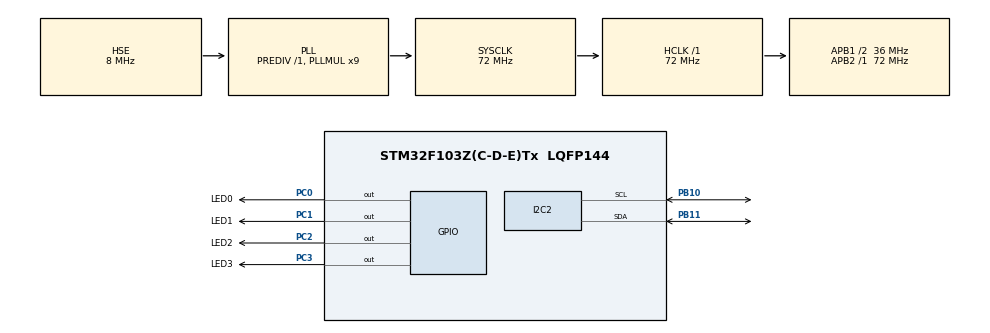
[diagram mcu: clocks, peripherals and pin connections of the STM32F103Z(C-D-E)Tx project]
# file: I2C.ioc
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I2C2.DualAddressMode=I2C_DUALADDRESS_DISABLE
Mcu.Family=STM32F1
Mcu.Name=STM32F103Z(C-D-E)Tx
Mcu.Package=LQFP144
NVIC.I2C2_ER_IRQn=true\:0\:0\:false\:false\:true\:true\:true
NVIC.I2C2_EV_IRQn=true\:0\:0\:false\:false\:true\:true\:true
NVIC.PriorityGroup=NVIC_PRIORITYGROUP_4
OSC_IN.Mode=HSE-External-Oscillator
OSC_IN.Signal=RCC_OSC_IN
OSC_OUT.Mode=HSE-External-Oscillator
OSC_OUT.Signal=RCC_OSC_OUT
PA13.Mode=Serial_Wire
PA13.Signal=SYS_JTMS-SWDIO
PA14.Mode=Serial_Wire
PA14.Signal=SYS_JTCK-SWCLK
PB10.Mode=I2C
PB10.Signal=I2C2_SCL
PB11.Mode=I2C
PB11.Signal=I2C2_SDA
PC0.GPIO_Label=LED0
PC0.GPIO_ModeDefaultOutputPP=GPIO_MODE_OUTPUT_PP
PC0.GPIO_PuPd=GPIO_NOPULL
PC0.GPIO_Speed=GPIO_SPEED_FREQ_LOW
PC0.PinState=GPIO_PIN_SET
PC0.Signal=GPIO_Output
PC1.GPIO_Label=LED1
PC1.GPIO_ModeDefaultOutputPP=GPIO_MODE_OUTPUT_PP
PC1.GPIO_PuPd=GPIO_NOPULL
PC1.GPIO_Speed=GPIO_SPEED_FREQ_LOW
PC1.PinState=GPIO_PIN_SET
PC1.Signal=GPIO_Output
PC2.GPIO_Label=LED2
PC2.GPIO_ModeDefaultOutputPP=GPIO_MODE_OUTPUT_PP
PC2.GPIO_PuPd=GPIO_NOPULL
PC2.GPIO_Speed=GPIO_SPEED_FREQ_LOW
PC2.PinState=GPIO_PIN_SET
PC2.Signal=GPIO_Output
PC3.GPIO_Label=LED3
PC3.GPIO_ModeDefaultOutputPP=GPIO_MODE_OUTPUT_PP
PC3.GPIO_PuPd=GPIO_NOPULL
PC3.GPIO_Speed=GPIO_SPEED_FREQ_LOW
PC3.PinState=GPIO_PIN_SET
PC3.Signal=GPIO_Output
ProjectManager.HeapSize=0x200
ProjectManager.StackSize=0x400
ProjectManager.TargetToolchain=MDK-ARM V5.27
RCC.ADCPresc=RCC_ADCPCLK2_DIV6
RCC.AHBFreq_Value=72000000
RCC.APB1CLKDivider=RCC_HCLK_DIV2
RCC.APB1Freq_Value=36000000
RCC.APB1TimFreq_Value=72000000
RCC.APB2Freq_Value=72000000
RCC.APB2TimFreq_Value=72000000
RCC.HCLKFreq_Value=72000000
RCC.PLLMUL=RCC_PLL_MUL9
RCC.PLLSourceVirtual=RCC_PLLSOURCE_HSE
RCC.SYSCLKFreq_VALUE=72000000
RCC.SYSCLKSource=RCC_SYSCLKSOURCE_PLLCLK
RCC.USBFreq_Value=48000000
RCC.USBPrescaler=RCC_USBCLKSOURCE_PLL_DIV1_5
board=custom

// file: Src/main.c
/* USER CODE BEGIN Header */
/**
  ******************************************************************************
  * @file           : main.c
  * @brief          : Main program body
  ******************************************************************************
  * @attention
  *
  * <h2><center>&copy; Copyright (c) 2020 STMicroelectronics.
  * All rights reserved.</center></h2>
  *
  * This software component is licensed by ST under BSD 3-Clause license,
  * the "License"; You may not use this file except in compliance with the
  * License. You may obtain a copy of the License at:
  *                        opensource.org/licenses/BSD-3-Clause
  *
  ******************************************************************************
  */
/* USER CODE END Header */

#include "main.h"
#include "i2c.h"
#include "gpio.h"

/* USER CODE BEGIN Includes */
#include <stdio.h>
/* USER CODE END Includes */

/* USER CODE BEGIN PD */
#define AT24C02_Buffer	64
/* USER CODE END PD */

/* USER CODE BEGIN PV */

uint8_t Write_Buffer[AT24C02_Buffer]={0};
/* USER CODE END PV */

void SystemClock_Config(void);

/* USER CODE BEGIN 0 */
int fputc(int ch, FILE *f)
{
	return ITM_SendChar(ch);
}
/* USER CODE END 0 */

int main(void)
{

  /* MCU Configuration--------------------------------------------------------*/

  /* Reset of all peripherals, Initializes the Flash interface and the Systick. */
  HAL_Init();

  /* Configure the system clock */
  SystemClock_Config();

  /* Initialize all configured peripherals */
  MX_GPIO_Init();
  MX_I2C2_Init();
  /* USER CODE BEGIN 2 */

	///////////24c02 2k byte 空间   8 个设备 1个设备32页  共32*8 页 每页 8字节 每页多写会当前页覆盖
	/////////////  页地址可以直接寻址到 其他设备的页 范围为  0-32*8= 0-255 超过页会覆盖 从第0页开始

	for(uint8_t i = 0; i < AT24C02_Buffer ; i++)
			Write_Buffer[i] = i+1;
	//Mem_WriteData(0, Write_Buffer, 8);
	HAL_I2C_Mem_Write(&hi2c2, AT24C02_Write, 0, I2C_MEMADD_SIZE_8BIT, Write_Buffer, 1, 1000);
	HAL_Delay(5);

	printf("-----------------clear-------------------------\n");
	for(uint8_t i = 0; i < AT24C02_Buffer; i++)
			Write_Buffer[i] = 0;

	printf("-----------------read-------------------------\n");

	//Mem_ReadData(0, Write_Buffer, 8);
	HAL_I2C_Mem_Read(&hi2c2, AT24C02_Read, 0, I2C_MEMADD_SIZE_8BIT, Write_Buffer, 1, 1000);
	HAL_Delay(5);
	for(uint8_t i = 0; i < AT24C02_Buffer; i++)
	printf("==>[%d]:%d\n", i, Write_Buffer[i]);

  /* USER CODE END 2 */

  /* Infinite loop */
  while (1)
  {

  }
}

void SystemClock_Config(void)
{
  RCC_OscInitTypeDef RCC_OscInitStruct = {0};
  RCC_ClkInitTypeDef RCC_ClkInitStruct = {0};

  /** Initializes the CPU, AHB and APB busses clocks
  */
  RCC_OscInitStruct.OscillatorType = RCC_OSCILLATORTYPE_HSE;
  RCC_OscInitStruct.HSEState = RCC_HSE_ON;
  RCC_OscInitStruct.HSEPredivValue = RCC_HSE_PREDIV_DIV1;
  RCC_OscInitStruct.HSIState = RCC_HSI_ON;
  RCC_OscInitStruct.PLL.PLLState = RCC_PLL_ON;
  RCC_OscInitStruct.PLL.PLLSource = RCC_PLLSOURCE_HSE;
  RCC_OscInitStruct.PLL.PLLMUL = RCC_PLL_MUL9;
  if (HAL_RCC_OscConfig(&RCC_OscInitStruct) != HAL_OK)
  {
    Error_Handler();
  }
  /** Initializes the CPU, AHB and APB busses clocks
  */
  RCC_ClkInitStruct.ClockType = RCC_CLOCKTYPE_HCLK|RCC_CLOCKTYPE_SYSCLK
                              |RCC_CLOCKTYPE_PCLK1|RCC_CLOCKTYPE_PCLK2;
  RCC_ClkInitStruct.SYSCLKSource = RCC_SYSCLKSOURCE_PLLCLK;
  RCC_ClkInitStruct.AHBCLKDivider = RCC_SYSCLK_DIV1;
  RCC_ClkInitStruct.APB1CLKDivider = RCC_HCLK_DIV2;
  RCC_ClkInitStruct.APB2CLKDivider = RCC_HCLK_DIV1;

  if (HAL_RCC_ClockConfig(&RCC_ClkInitStruct, FLASH_LATENCY_2) != HAL_OK)
  {
    Error_Handler();
  }
}

void Error_Handler(void)
{
}

/************************ (C) COPYRIGHT STMicroelectronics *****END OF FILE****/
